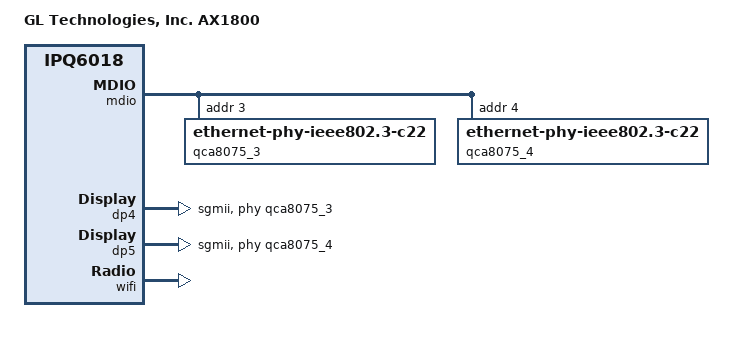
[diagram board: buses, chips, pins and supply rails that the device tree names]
/dts-v1/;
/*
 * Copyright (c) 2019, The Linux Foundation. All rights reserved.
 *
 * Permission to use, copy, modify, and/or distribute this software for any
 * purpose with or without fee is hereby granted, provided that the above
 * copyright notice and this permission notice appear in all copies.
 *
 * THE SOFTWARE IS PROVIDED "AS IS" AND THE AUTHOR DISCLAIMS ALL WARRANTIES
 * WITH REGARD TO THIS SOFTWARE INCLUDING ALL IMPLIED WARRANTIES OF
 * MERCHANTABILITY AND FITNESS. IN NO EVENT SHALL THE AUTHOR BE LIABLE FOR
 * ANY SPECIAL, DIRECT, INDIRECT, OR CONSEQUENTIAL DAMAGES OR ANY DAMAGES
 * WHATSOEVER RESULTING FROM LOSS OF USE, DATA OR PROFITS, WHETHER IN AN
 * ACTION OF CONTRACT, NEGLIGENCE OR OTHER TORTIOUS ACTION, ARISING OUT OF
 * OR IN CONNECTION WITH THE USE OR PERFORMANCE OF THIS SOFTWARE.
 */

#include "ipq6018-gl-ax1800.dtsi"

/ {
	model = "GL Technologies, Inc. AX1800";
	compatible = "glinet,gl-ax1800", "qcom,ipq6018", "qcom,ipq6018-cp03";

	aliases {
		ethernet3 = &dp4;
		ethernet4 = &dp5;
	};
};

&mdio {
	qca8075_3: ethernet-phy@3 {
        compatible = "ethernet-phy-ieee802.3-c22";
		reg = <3>;
	};
	qca8075_4: ethernet-phy@4 {
        compatible = "ethernet-phy-ieee802.3-c22";
		reg = <4>;
	};
};

&switch {
	switch_lan_bmp = <0x3c>; /* lan port bitmap */

	qcom,port_phyinfo {
		port@3 {
			port_id = <4>;
			phy_address = <3>;
		};
		port@4 {
			port_id = <5>;
			phy_address = <4>;
		};
	};
};

&soc {
    dp4: dp@4 {
        device_type = "network";
		compatible = "qcom,nss-dp";
		reg = <0x0 0x3a001600 0x0 0x200>;
		qcom,mactype = <0>;
        local-mac-address = [000000000000];
		qcom,id = <4>;
		phy-handle = <&qca8075_3>;
		phy-mode = "sgmii";
	};

    dp5: dp@5 {
        device_type = "network";
		compatible = "qcom,nss-dp";
		reg = <0x0 0x3a001800 0x0 0x200>;
		qcom,mactype = <0>;
        local-mac-address = [000000000000];
		qcom,id = <5>;
		phy-handle = <&qca8075_4>;
		phy-mode = "sgmii";
	};

};


&wifi {
	qcom,ath11k-calibration-variant = "GL-iNet-AX1800";
};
